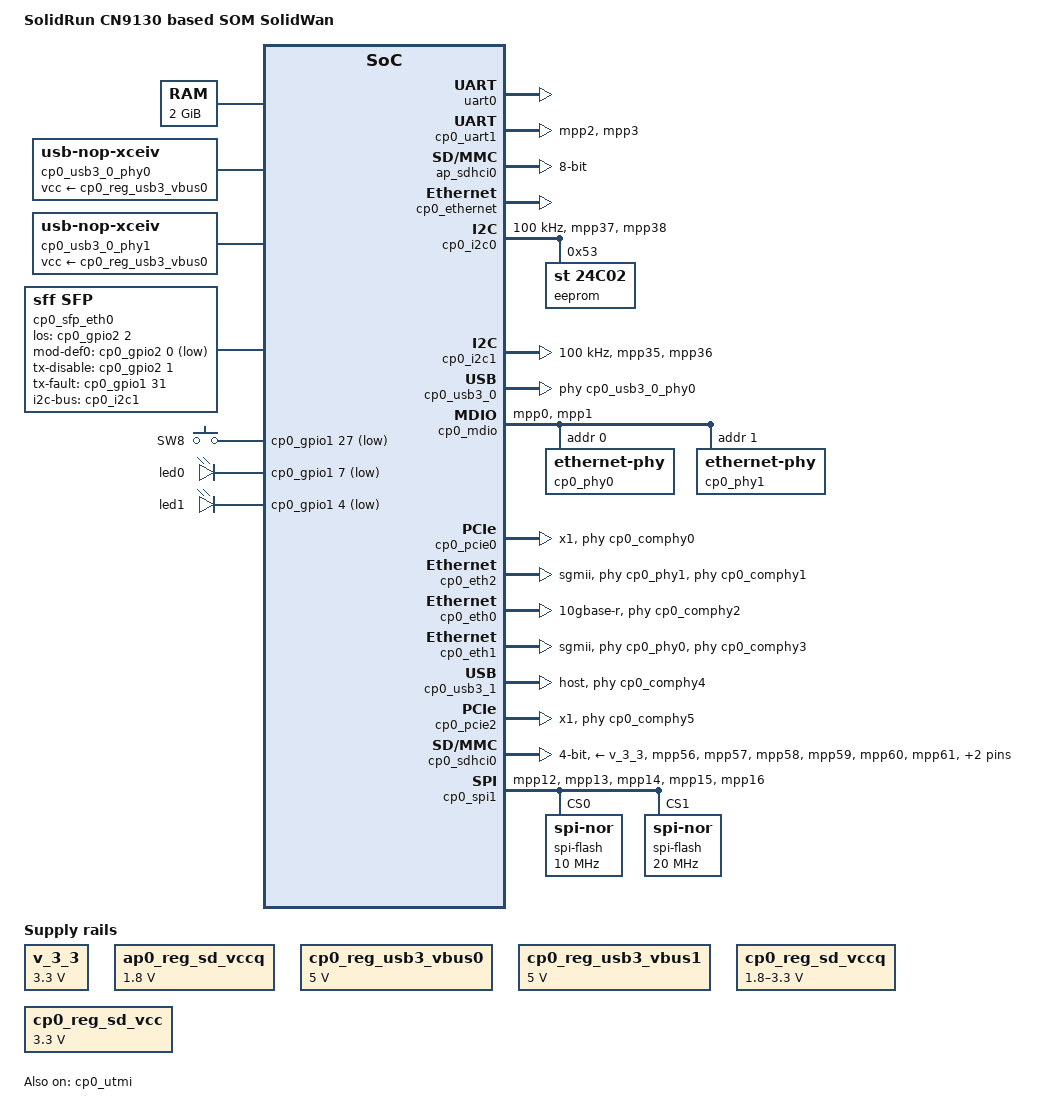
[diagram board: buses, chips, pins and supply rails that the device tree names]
// SPDX-License-Identifier: (GPL-2.0+ OR MIT)
/*
 * Copyright SolidRun Ltd.
 *
 * Device tree for the  CN9130 based SOM.
 */

#include "cn9130.dtsi"

#include <dt-bindings/gpio/gpio.h>
#include <dt-bindings/input/input.h>

/ {
	model = "SolidRun CN9130 based SOM SolidWan";

	chosen {
		stdout-path = "serial0:115200n8";
	};

	aliases {
		gpio1 = &cp0_gpio1;
		gpio2 = &cp0_gpio2;
		i2c0 = &cp0_i2c0;
		ethernet0 = &cp0_eth0;
		ethernet1 = &cp0_eth1;
		ethernet2 = &cp0_eth2;
		spi1 = &cp0_spi0;
		spi2 = &cp0_spi1;
	};

	memory@00000000 {
		device_type = "memory";
		reg = <0x0 0x0 0x0 0x80000000>;
	};
	v_3_3: regulator-3-3v {
		compatible = "regulator-fixed";
		regulator-name = "v_3_3";
		regulator-min-microvolt = <3300000>;
		regulator-max-microvolt = <3300000>;
		regulator-always-on;
		status = "okay";
	};
	ap0_reg_sd_vccq: ap0_sd_vccq@0 {
		compatible = "regulator-gpio";
		regulator-name = "ap0_sd_vccq";
		regulator-min-microvolt = <1800000>;
		regulator-max-microvolt = <1800000>;
		states = <1800000 0x1 3300000 0x0>;
	};

	cp0_reg_usb3_vbus0: cp0_usb3_vbus@0 {
		compatible = "regulator-fixed";
		regulator-name = "cp0-xhci0-vbus";
		regulator-min-microvolt = <5000000>;
		regulator-max-microvolt = <5000000>;
		enable-active-high;
	};

	cp0_usb3_0_phy0: cp0_usb3_phy@0 {
		compatible = "usb-nop-xceiv";
		vcc-supply = <&cp0_reg_usb3_vbus0>;
	};

	cp0_reg_usb3_vbus1: cp0_usb3_vbus@1 {
		compatible = "regulator-fixed";
		regulator-name = "cp0-xhci1-vbus";
		regulator-min-microvolt = <5000000>;
		regulator-max-microvolt = <5000000>;
		enable-active-high;
	};

	cp0_usb3_0_phy1: cp0_usb3_phy@1 {
		compatible = "usb-nop-xceiv";
		vcc-supply = <&cp0_reg_usb3_vbus0>;
	};

	cp0_reg_sd_vccq: cp0_sd_vccq@0 {
		compatible = "regulator-gpio";
		regulator-name = "cp0_sd_vccq";
		regulator-min-microvolt = <1800000>;
		regulator-max-microvolt = <3300000>;
		states = <1800000 0x1
			3300000 0x0>;
	};

	cp0_reg_sd_vcc: cp0_sd_vcc@0 {
		compatible = "regulator-fixed";
		regulator-name = "cp0_sd_vcc";
		regulator-min-microvolt = <3300000>;
		regulator-max-microvolt = <3300000>;
		enable-active-high;
		regulator-always-on;
	};

	cp0_sfp_eth0: sfp-eth@0 {
		compatible = "sff,sfp";
		i2c-bus = <&cp0_i2c1>;
		los-gpio = <&cp0_gpio2 2 GPIO_ACTIVE_HIGH>; //MPP34
		mod-def0-gpio = <&cp0_gpio2 0 GPIO_ACTIVE_LOW>; //MPP32
		tx-disable-gpio = <&cp0_gpio2 1 GPIO_ACTIVE_HIGH>; //MPP33
		tx-fault-gpio = <&cp0_gpio1 31 GPIO_ACTIVE_HIGH>; //MPP31
		//maximum-power-milliwatt = <2000>;
		pinctrl-names = "default";
		pinctrl-0 = <&sfp_cp0_eth0_present_pins &sfp_cp0_eth0_tx_disable_pins 
				&sfp_cp0_eth0_los_pins>;
	};

	keys {
                compatible = "gpio-keys";
                pinctrl-0 = <&cp0_button_sw8_pins >; // &cp0_gpio_reset_pins>;
                pinctrl-names = "default";

	//	button_0 {
                        /* The GPIO Reset button */
          //              label = "Reset Button";
	//		gpios = <&cp0_gpio2 8 GPIO_ACTIVE_LOW>;
          //              linux,can-disable;
            //            linux,code = <BTN_0>;
              //  };

		button1{
			/* SW8 button */
			label = "SW8";
			gpios = <&cp0_gpio1 27 GPIO_ACTIVE_LOW>;
			linux,can-disable;
			linux,code = <BTN_1>;
		};
	};
	leds {
                compatible = "gpio-leds";
                pinctrl-0 = <&cp0_led0_pins
                                &cp0_led1_pins>;
                pinctrl-names = "default";

                led0 {
                        label = "led0";
                        gpios = <&cp0_gpio1 7 GPIO_ACTIVE_LOW>;
                        default-state = "on";
                };

                led1 {
                        label = "led1";
                        gpios = <&cp0_gpio1 4 GPIO_ACTIVE_LOW>;
                        default-state = "on";
                };
        };



};

&uart0 {
	status = "okay";
};

&cp0_uart1 {
        status = "okay";
	pinctrl-0 = <&cp0_uart1_pins>;
        pinctrl-names = "default";

};

/* on-board eMMC  */
&ap_sdhci0 {
	pinctrl-names = "default";
	bus-width = <8>;
	vqmmc-supply = <&ap0_reg_sd_vccq>;
	status = "okay";
};

&cp0_crypto {
	status = "disabled";
};

&cp0_ethernet {
	status = "okay";
};

&cp0_gpio1 {
	status = "okay";
};

&cp0_gpio2 {
	status = "okay";
};

/* EEPROM */
&cp0_i2c0 {
	status = "okay";
	pinctrl-names = "default";
	pinctrl-0 = <&cp0_i2c0_pins>;
	clock-frequency = <100000>;
	eeprom@53 {
		compatible = "st,24c02", "atmel,24c02";
		reg = <0x53>;
		pagesize = <16>;
	};
};

/* I2C Master */
&cp0_i2c1 {
	status = "okay";
	clock-frequency = <100000>;
	pinctrl-names = "default";
	pinctrl-0 = <&cp0_i2c1_pins>;
};
/*******************************/
//&cp0_gpio1 {
//	phy_reset { /* Release switch reset */
//		gpio-hog;
//		gpios = <28 GPIO_ACTIVE_HIGH>;
//		output-high;
//	};
//};
/*************************/

&cp0_utmi {
        status = "okay";
};

&cp0_usb3_0 {
	status = "okay";
        usb-phy = <&cp0_usb3_0_phy0>;
//        phys = <&cp0_utmi0>;
//        phy-names = "utmi";
	phy-names = "usb";
//        dr_mode = "host";
};



&cp0_mdio {
	status = "okay";
	pinctrl-names = "default";
	pinctrl-0 = <&cp0_ge_mdio_pins>;
	cp0_phy0: ethernet-phy@0 {
		/* Green led blinks on activity, Orange LED on link */
		//marvell,reg-init = <3 16 0 0x0064>;
		marvell,reg-init = <3 16 0 0x1017>;
		reg = <0>;
	};
	cp0_phy1: ethernet-phy@1 {
		/* Green led blinks on activity, Orange LED on link */
		//marvell,reg-init = <3 16 0 0x0064>;
		marvell,reg-init = <3 16 0 0x1017>;
		reg = <1>;
	};
};

/* SRDS #0 - PCIe */
&cp0_pcie0 {
        pinctrl-names = "default";
//	pinctrl-0 = <&cp0_pci0_reset_pins>;
        num-lanes = <1>;
//	reset-gpios = <&cp0_gpio1 6 GPIO_ACTIVE_LOW>;
        phys = <&cp0_comphy0 0>;
        status = "okay";
};

/* SRDS #1 - SGMII */
&cp0_eth2 {
        status = "okay";
        phys = <&cp0_comphy1 2>;
	phy = <&cp0_phy1>;
	managed = "in-band-status";
	phy-mode = "sgmii";
};

/* SRDS #2 - SFP+ 10GE */
&cp0_eth0 {
	status = "okay";
	phy-mode = "10gbase-r";
	phys = <&cp0_comphy2 0>;
	managed = "in-band-status";
	sfp = <&cp0_sfp_eth0>;
};

/* SRDS #3 - SGMII 1GE on carrier board */
&cp0_eth1 {
	status = "okay";
	phys = <&cp0_comphy3 1>;
	phy = <&cp0_phy0>;
	managed = "in-band-status";
	phy-mode = "sgmii";
};

/* SRDS #4 - USB 3.0 host on M.2 connector */
&cp0_usb3_1 {
	status = "okay";
	phys = <&cp0_comphy4 1>; //, <&cp0_utmi1>;
	phy-names = "usb"; // cp0-usb3h1-comphy
	dr_mode = "host";
};

/* SRDS #5 - PCIe */
&cp0_pcie2 {
	status = "okay";
	phys = <&cp0_comphy5 2>;
	num-lanes = <1>;
	pinctrl-names = "default";
//	reset-gpios = <&cp0_gpio1 8 GPIO_ACTIVE_LOW>;	
//	pinctrl-0 = <&cp0_pci2_reset_pins>;

};

&cp0_sdhci0 {
	status = "okay";
	pinctrl-names = "default";
	pinctrl-0 = <&cp0_sdhci_pins
			&cp0_sdhci_cd_pins>;
	bus-width = <4>;
	cd-gpios = <&cp0_gpio2 11 GPIO_ACTIVE_LOW>;
	no-1-8-v;
	vqmmc-supply = <&v_3_3>;
	vmmc-supply = <&v_3_3>;
};

&cp0_spi1 {
	status = "okay";
	pinctrl-names = "default";
	pinctrl-0 = <&cp0_spi1_pins>;
	reg = <0x700680 0x50>;
	spi-flash@0 {
		#address-cells = <0x1>;
		#size-cells = <0x1>;
		compatible = "jedec,spi-nor";
		reg = <0x0>;
		spi-max-frequency = <10000000>;
	};
	spi-flash@1 {
		#address-cells = <0x1>;
		#size-cells = <0x1>;
		compatible = "jedec,spi-nor";
		reg = <0x1>;
		/* On carrier MUX does not allow higher frequencies */
		spi-max-frequency = <20000000>;
	};
};

&cp0_syscon0 {
	cp0_pinctrl: pinctrl {
		compatible = "marvell,cp115-standalone-pinctrl";
		cp0_i2c0_pins: cp0-i2c0-pins {
                        marvell,pins = "mpp37", "mpp38";
                        marvell,function = "i2c0";
                };
		cp0_ge_mdio_pins: ge-mdio-pins {
			marvell,pins = "mpp0", "mpp1";
			marvell,function = "ge";
		};
		cp0_i2c1_pins: cp0-i2c-pins-1 {
			marvell,pins = "mpp35", "mpp36";
			marvell,function = "i2c1";
		};
		cp0_sdhci_cd_pins: cp0-sdhci-cd-pins-0 {
			marvell,pins = "mpp43";
			marvell,function = "sdio";
		};
		cp0_sdhci_pins: cp0-sdhi-pins-0 {
			marvell,pins =	"mpp56", "mpp57", "mpp58",
					"mpp59", "mpp60", "mpp61";
			marvell,function = "sdio";
		};
		cp0_spi1_pins: cp0-spi-pins-1 {
			marvell,pins = "mpp12", "mpp13", "mpp14", "mpp15", "mpp16";
			marvell,function = "spi1";
		};
		cp0_button_sw8_pins: cp0-button-sw8-pins {
                	marvell,pins = "mpp27";
                	marvell,function = "gpio";
        	};
/*		cp0_gpio_reset_pins: gpio-reset-pins {
			marvell,pins = "mpp40";
			marvell,function = "gpio";
		};*/
		sfp_cp0_eth0_present_pins: sfp0-present-pins {
			marvell,pins = "mpp32";
			marvell,function = "gpio";
		};
		sfp_cp0_eth0_tx_disable_pins: sfp1-tx-disable-pins {
			marvell,pins = "mpp33";
			marvell,function = "gpio";
		};
		sfp_cp0_eth0_los_pins: sfp1-los-pins {
			marvell,pins = "mpp31";
			marvell,function = "gpio";
		};
		cp0_led0_pins: led0-pins {
			marvell,pins = "mpp7";
			marvell,function = "gpio";
		};
		cp0_led1_pins: led1-pins {
			marvell,pins = "mpp4";
			marvell,function = "gpio";
		};
		cp0_pci0_reset_pins: pci0-reset-pins {
			marvell,pins = "mpp6";
			marvell,function = "gpio";
		};
		cp0_pci2_reset_pins: pci2-reset-pins {
                        marvell,pins = "mpp8";
                        marvell,function = "gpio";
                };
		cp0_uart1_pins: cp0-uart1-pins {
			marvell,pins = "mpp2", "mpp3";
                        marvell,function = "uart1";
		};
		
	};
};
